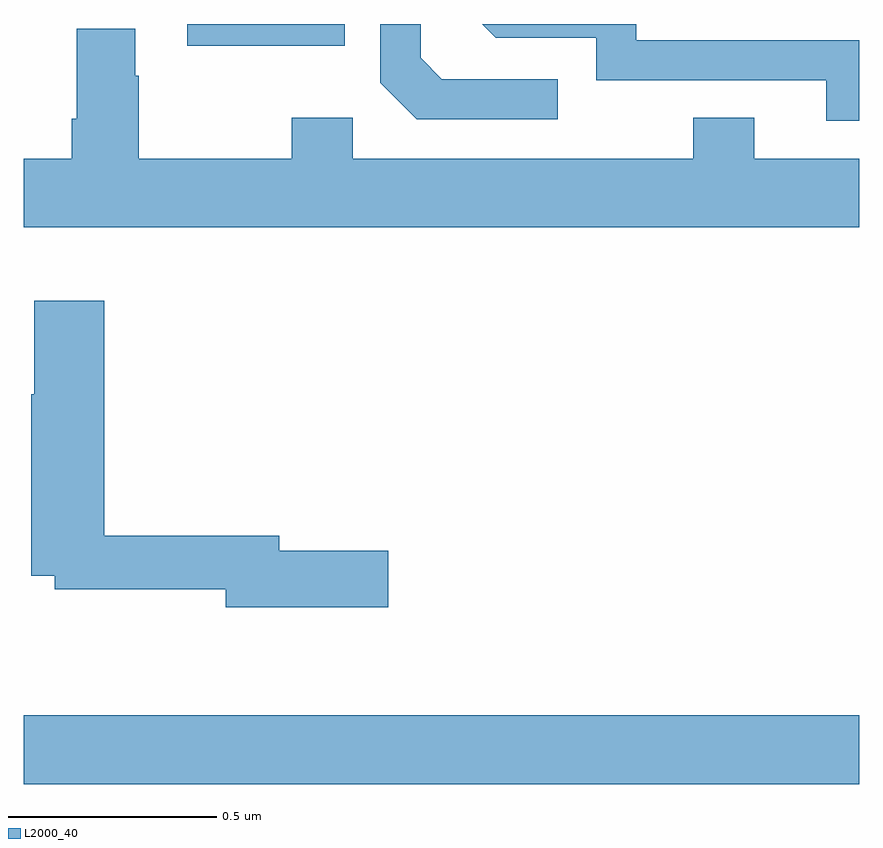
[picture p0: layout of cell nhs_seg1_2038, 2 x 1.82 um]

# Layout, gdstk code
import gdstk
lib = gdstk.Library(unit=1e-6, precision=1e-09)
def R(c, l, rs):  # rectangles x0, y0, x1, y1
    for r in rs: c.add(gdstk.rectangle(r[:2], r[2:], *l))
def P(c, l, *ps):  # polygons
    for p in ps: c.add(gdstk.Polygon(p, *l))
L2000_40 = (2000, 40)

nhs_seg1_2038 = lib.new_cell('nhs_seg1_2038')
R(nhs_seg1_2038, L2000_40, [(136,570.38,138,570.544), (136.392,572.147,136.769,572.199)])
P(nhs_seg1_2038, L2000_40, [(138,572.16),(137.466,572.16),(137.466,572.199),(137.097,572.199),(137.13,572.166),(137.37,572.166),(137.37,572.064),(137.921,572.064),(137.921,571.968),(138,571.968)],
  [(137.278,572.067),(137.001,572.067),(136.95,572.118),(136.95,572.199),(136.854,572.199),(136.854,572.058),(136.941,571.971),(137.278,571.971)],
  [(138,571.876),(137.749,571.876),(137.749,571.975),(137.602,571.975),(137.602,571.876),(136.788,571.876),(136.788,571.975),(136.642,571.975),(136.642,571.876),(136.275,571.876),(136.275,572.075),(136.267,572.075),(136.267,572.188),(136.127,572.188),(136.127,571.972),(136.115,571.972),(136.115,571.876),(136,571.876),(136,571.712),(138,571.712)],
  [(136.873,570.938),(136.612,570.938),(136.612,570.974),(136.193,570.974),(136.193,571.537),(136.025,571.537),(136.025,571.313),(136.018,571.313),(136.018,570.878),(136.074,570.878),(136.074,570.846),(136.484,570.846),(136.484,570.803),(136.873,570.803)])

lib.write_gds('nhs_seg1_2038.gds')
